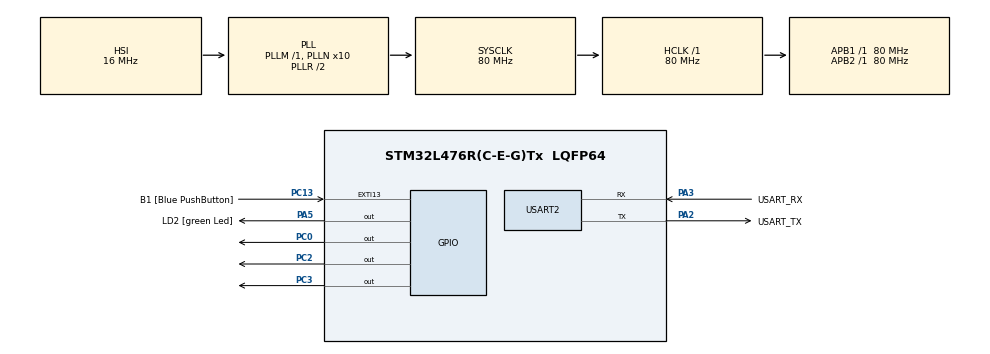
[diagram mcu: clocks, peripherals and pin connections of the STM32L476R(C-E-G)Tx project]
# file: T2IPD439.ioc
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FREERTOS.Tasks01=Task1,24,128,StartTask1,Default,NULL,Dynamic,NULL,NULL;Task2,24,128,StartTask2,Default,NULL,Dynamic,NULL,NULL;Task3,32,128,StartTask03,Default,NULL,Dynamic,NULL,NULL
FREERTOS.configUSE_NEWLIB_REENTRANT=1
Mcu.Family=STM32L4
Mcu.Name=STM32L476R(C-E-G)Tx
Mcu.Package=LQFP64
NVIC.PriorityGroup=NVIC_PRIORITYGROUP_4
PA13\ (JTMS-SWDIO).GPIO_Label=TMS
PA13\ (JTMS-SWDIO).Mode=Serial_Wire
PA13\ (JTMS-SWDIO).Signal=SYS_JTMS-SWDIO
PA14\ (JTCK-SWCLK).GPIO_Label=TCK
PA14\ (JTCK-SWCLK).Mode=Serial_Wire
PA14\ (JTCK-SWCLK).Signal=SYS_JTCK-SWCLK
PA2.GPIO_Label=USART_TX
PA2.GPIO_Mode=GPIO_MODE_AF_PP
PA2.GPIO_PuPd=GPIO_NOPULL
PA2.GPIO_Speed=GPIO_SPEED_FREQ_VERY_HIGH
PA2.Mode=Asynchronous
PA2.Signal=USART2_TX
PA3.GPIO_Label=USART_RX
PA3.GPIO_Mode=GPIO_MODE_AF_PP
PA3.GPIO_PuPd=GPIO_NOPULL
PA3.GPIO_Speed=GPIO_SPEED_FREQ_VERY_HIGH
PA3.Mode=Asynchronous
PA3.Signal=USART2_RX
PA5.GPIO_Label=LD2 [green Led]
PA5.GPIO_ModeDefaultOutputPP=GPIO_MODE_OUTPUT_PP
PA5.GPIO_PuPd=GPIO_NOPULL
PA5.GPIO_Speed=GPIO_SPEED_FREQ_LOW
PA5.Signal=GPIO_Output
PB3\ (JTDO-TRACESWO).GPIO_Label=SWO
PB3\ (JTDO-TRACESWO).Signal=SYS_JTDO-SWO
PC0.GPIO_Speed=GPIO_SPEED_FREQ_HIGH
PC0.Signal=GPIO_Output
PC13.GPIO_Label=B1 [Blue PushButton]
PC13.GPIO_ModeDefaultEXTI=GPIO_MODE_IT_FALLING
PC13.GPIO_PuPd=GPIO_NOPULL
PC13.Signal=GPXTI13
PC14-OSC32_IN\ (PC14).Mode=LSE-External-Oscillator
PC14-OSC32_IN\ (PC14).Signal=RCC_OSC32_IN
PC15-OSC32_OUT\ (PC15).Mode=LSE-External-Oscillator
PC15-OSC32_OUT\ (PC15).Signal=RCC_OSC32_OUT
PC2.GPIO_Speed=GPIO_SPEED_FREQ_HIGH
PC2.Signal=GPIO_Output
PC3.GPIO_Speed=GPIO_SPEED_FREQ_HIGH
PC3.Signal=GPIO_Output
PH0-OSC_IN\ (PH0).Signal=RCC_OSC_IN
PH1-OSC_OUT\ (PH1).Signal=RCC_OSC_OUT
ProjectManager.HeapSize=0x200
ProjectManager.StackSize=0x400
ProjectManager.TargetToolchain=STM32CubeIDE
RCC.ADCFreq_Value=64000000
RCC.AHBFreq_Value=80000000
RCC.APB1Freq_Value=80000000
RCC.APB1TimFreq_Value=80000000
RCC.APB2Freq_Value=80000000
RCC.APB2TimFreq_Value=80000000
RCC.CortexFreq_Value=80000000
RCC.HCLKFreq_Value=80000000
RCC.HSE_VALUE=8000000
RCC.HSI_VALUE=16000000
RCC.MSI_VALUE=4000000
RCC.PLLN=10
RCC.PLLSourceVirtual=RCC_PLLSOURCE_HSI
RCC.PREFETCH_ENABLE=1
RCC.SYSCLKFreq_VALUE=80000000
RCC.SYSCLKSource=RCC_SYSCLKSOURCE_PLLCLK
RCC.USBFreq_Value=64000000
RCC.VCOOutputFreq_Value=160000000
USART2.VirtualMode-Asynchronous=VM_ASYNC
VP_FREERTOS_VS_CMSIS_V2.Mode=CMSIS_V2
board=NUCLEO-L476RG

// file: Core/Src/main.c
/* USER CODE BEGIN Header */
/**
  ******************************************************************************
  * @file           : main.c
  * @brief          : Main program body
  ******************************************************************************
  * @attention
  *
  * Copyright (c) 2026 STMicroelectronics.
  * All rights reserved.
  *
  * This software is licensed under terms that can be found in the LICENSE file
  * in the root directory of this software component.
  * If no LICENSE file comes with this software, it is provided AS-IS.
  *
  ******************************************************************************
  */
/* USER CODE END Header */
#include "main.h"
#include "cmsis_os.h"

UART_HandleTypeDef huart2;

/* Definitions for Task1 */
osThreadId_t Task1Handle;
const osThreadAttr_t Task1_attributes = {
  .name = "Task1",
  .stack_size = 128 * 4,
  .priority = (osPriority_t) osPriorityNormal,
};
/* Definitions for Task2 */
osThreadId_t Task2Handle;
const osThreadAttr_t Task2_attributes = {
  .name = "Task2",
  .stack_size = 128 * 4,
  .priority = (osPriority_t) osPriorityNormal,
};
/* Definitions for Task3 */
osThreadId_t Task3Handle;
const osThreadAttr_t Task3_attributes = {
  .name = "Task3",
  .stack_size = 128 * 4,
  .priority = (osPriority_t) osPriorityAboveNormal,
};

void SystemClock_Config(void);
static void MX_GPIO_Init(void);
static void MX_USART2_UART_Init(void);
void StartTask1(void *argument);
void StartTask2(void *argument);
void StartTask03(void *argument);

int main(void)
{

  /* MCU Configuration--------------------------------------------------------*/

  /* Reset of all peripherals, Initializes the Flash interface and the Systick. */
  HAL_Init();

  /* Configure the system clock */
  SystemClock_Config();

  /* Initialize all configured peripherals */
  MX_GPIO_Init();
  MX_USART2_UART_Init();

  /* Init scheduler */
  osKernelInitialize();

  /* Create the thread(s) */
  /* creation of Task1 */
  Task1Handle = osThreadNew(StartTask1, NULL, &Task1_attributes);

  /* creation of Task2 */
  Task2Handle = osThreadNew(StartTask2, NULL, &Task2_attributes);

  /* creation of Task3 */
  Task3Handle = osThreadNew(StartTask03, NULL, &Task3_attributes);

  /* Start scheduler */
  osKernelStart();

  /* We should never get here as control is now taken by the scheduler */

  /* Infinite loop */
  while (1)
  {

  }
}

void SystemClock_Config(void)
{
  RCC_OscInitTypeDef RCC_OscInitStruct = {0};
  RCC_ClkInitTypeDef RCC_ClkInitStruct = {0};

  /** Configure the main internal regulator output voltage
  */
  if (HAL_PWREx_ControlVoltageScaling(PWR_REGULATOR_VOLTAGE_SCALE1) != HAL_OK)
  {
    Error_Handler();
  }

  /** Initializes the RCC Oscillators according to the specified parameters
  * in the RCC_OscInitTypeDef structure.
  */
  RCC_OscInitStruct.OscillatorType = RCC_OSCILLATORTYPE_HSI;
  RCC_OscInitStruct.HSIState = RCC_HSI_ON;
  RCC_OscInitStruct.HSICalibrationValue = RCC_HSICALIBRATION_DEFAULT;
  RCC_OscInitStruct.PLL.PLLState = RCC_PLL_ON;
  RCC_OscInitStruct.PLL.PLLSource = RCC_PLLSOURCE_HSI;
  RCC_OscInitStruct.PLL.PLLM = 1;
  RCC_OscInitStruct.PLL.PLLN = 10;
  RCC_OscInitStruct.PLL.PLLP = RCC_PLLP_DIV7;
  RCC_OscInitStruct.PLL.PLLQ = RCC_PLLQ_DIV2;
  RCC_OscInitStruct.PLL.PLLR = RCC_PLLR_DIV2;
  if (HAL_RCC_OscConfig(&RCC_OscInitStruct) != HAL_OK)
  {
    Error_Handler();
  }

  /** Initializes the CPU, AHB and APB buses clocks
  */
  RCC_ClkInitStruct.ClockType = RCC_CLOCKTYPE_HCLK|RCC_CLOCKTYPE_SYSCLK
                              |RCC_CLOCKTYPE_PCLK1|RCC_CLOCKTYPE_PCLK2;
  RCC_ClkInitStruct.SYSCLKSource = RCC_SYSCLKSOURCE_PLLCLK;
  RCC_ClkInitStruct.AHBCLKDivider = RCC_SYSCLK_DIV1;
  RCC_ClkInitStruct.APB1CLKDivider = RCC_HCLK_DIV1;
  RCC_ClkInitStruct.APB2CLKDivider = RCC_HCLK_DIV1;

  if (HAL_RCC_ClockConfig(&RCC_ClkInitStruct, FLASH_LATENCY_4) != HAL_OK)
  {
    Error_Handler();
  }
}

static void MX_USART2_UART_Init(void)
{

  huart2.Instance = USART2;
  huart2.Init.BaudRate = 115200;
  huart2.Init.WordLength = UART_WORDLENGTH_8B;
  huart2.Init.StopBits = UART_STOPBITS_1;
  huart2.Init.Parity = UART_PARITY_NONE;
  huart2.Init.Mode = UART_MODE_TX_RX;
  huart2.Init.HwFlowCtl = UART_HWCONTROL_NONE;
  huart2.Init.OverSampling = UART_OVERSAMPLING_16;
  huart2.Init.OneBitSampling = UART_ONE_BIT_SAMPLE_DISABLE;
  huart2.AdvancedInit.AdvFeatureInit = UART_ADVFEATURE_NO_INIT;
  if (HAL_UART_Init(&huart2) != HAL_OK)
  {
    Error_Handler();
  }

}

static void MX_GPIO_Init(void)
{
  GPIO_InitTypeDef GPIO_InitStruct = {0};

  /* GPIO Ports Clock Enable */
  __HAL_RCC_GPIOC_CLK_ENABLE();
  __HAL_RCC_GPIOH_CLK_ENABLE();
  __HAL_RCC_GPIOA_CLK_ENABLE();
  __HAL_RCC_GPIOB_CLK_ENABLE();

  /*Configure GPIO pin Output Level */
  HAL_GPIO_WritePin(GPIOC, GPIO_PIN_0|GPIO_PIN_2|GPIO_PIN_3, GPIO_PIN_RESET);

  /*Configure GPIO pin Output Level */
  HAL_GPIO_WritePin(LD2_GPIO_Port, LD2_Pin, GPIO_PIN_RESET);

  /*Configure GPIO pin : B1_Pin */
  GPIO_InitStruct.Pin = B1_Pin;
  GPIO_InitStruct.Mode = GPIO_MODE_IT_FALLING;
  GPIO_InitStruct.Pull = GPIO_NOPULL;
  HAL_GPIO_Init(B1_GPIO_Port, &GPIO_InitStruct);

  /*Configure GPIO pins : PC0 PC2 PC3 */
  GPIO_InitStruct.Pin = GPIO_PIN_0|GPIO_PIN_2|GPIO_PIN_3;
  GPIO_InitStruct.Mode = GPIO_MODE_OUTPUT_PP;
  GPIO_InitStruct.Pull = GPIO_NOPULL;
  GPIO_InitStruct.Speed = GPIO_SPEED_FREQ_HIGH;
  HAL_GPIO_Init(GPIOC, &GPIO_InitStruct);

  /*Configure GPIO pin : LD2_Pin */
  GPIO_InitStruct.Pin = LD2_Pin;
  GPIO_InitStruct.Mode = GPIO_MODE_OUTPUT_PP;
  GPIO_InitStruct.Pull = GPIO_NOPULL;
  GPIO_InitStruct.Speed = GPIO_SPEED_FREQ_LOW;
  HAL_GPIO_Init(LD2_GPIO_Port, &GPIO_InitStruct);

}

void StartTask1(void *argument)
{
  /* USER CODE BEGIN 5 */
	const uint32_t T = 100U;
	const uint32_t t = 10U;
	uint32_t tick = osKernelGetTickCount();
	/* Infinite loop */
  for(;;)
  {
	  HAL_GPIO_WritePin(GPIOC, GPIO_PIN_2, GPIO_PIN_SET);
	  osDelayUntil(tick+t);
	  HAL_GPIO_WritePin(GPIOC, GPIO_PIN_2, GPIO_PIN_RESET);
	  tick += T;
	  osDelayUntil(tick);
  }
  /* USER CODE END 5 */
}

void StartTask2(void *argument)
{
  /* USER CODE BEGIN StartTask2 */
	const uint32_t T = 200U;
	const uint32_t t = 20U;
	uint32_t tick = osKernelGetTickCount();
  /* Infinite loop */
  for(;;)
  {
	  HAL_GPIO_WritePin(GPIOC, GPIO_PIN_3, GPIO_PIN_SET);
	  osDelayUntil(tick+t);
	  HAL_GPIO_WritePin(GPIOC, GPIO_PIN_3, GPIO_PIN_RESET);
	  tick += T;
	  osDelayUntil(tick);
  }
  /* USER CODE END StartTask2 */
}

void StartTask03(void *argument)
{
  /* USER CODE BEGIN StartTask03 */
	uint32_t n = 300000; //Carga computacional
	volatile uint32_t stack;
	uint32_t i;
	uint32_t tick = osKernelGetTickCount();
  /* Infinite loop */
  for(;;)
  {
	  HAL_GPIO_WritePin(GPIOC, GPIO_PIN_0, GPIO_PIN_SET);
	  stack = 0;
	  for (i = 0; i < n; i++) stack++;
	  HAL_GPIO_WritePin(GPIOC, GPIO_PIN_0, GPIO_PIN_RESET);
	  tick += 50U;
	  osDelayUntil(tick);
  }
  /* USER CODE END StartTask03 */
}

void Error_Handler(void)
{
  __disable_irq();
  while (1)
  {
  }
}
